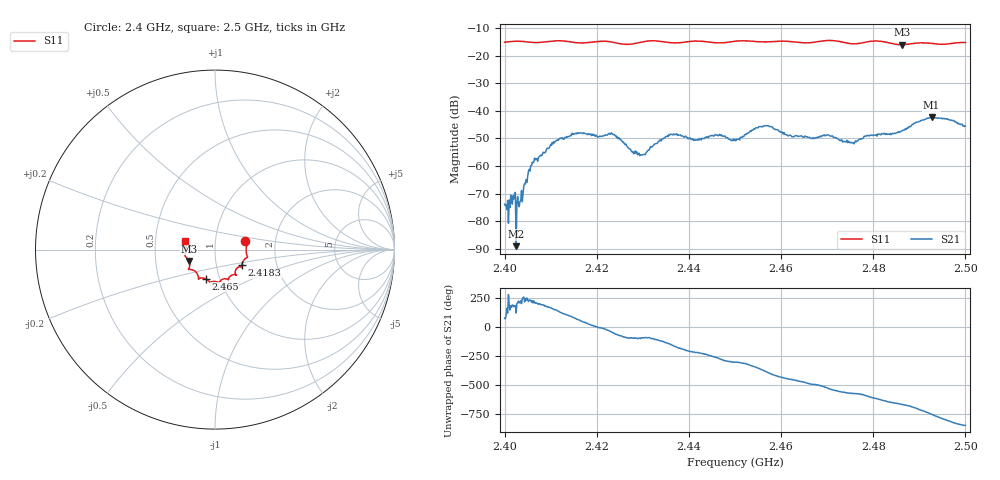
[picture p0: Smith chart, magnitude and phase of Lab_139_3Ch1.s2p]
# Hz S RI R 50
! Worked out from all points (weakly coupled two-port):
!   601 points, 2.4 GHz to 2.5 GHz, reference 50 ohm
!   highest |S21| = -42.34 dB at 2.4927 GHz (marker M1); lowest = -89.0 dB at 2.4025 GHz (marker M2)
!   lowest |S11| = -16.0 dB at 2.4862 GHz (marker M3), VSWR 1.37, Z = 37.1 - j4.83 ohm
!   |S11| at or under -10 dB: start of sweep to end of sweep
!   S12 and S22 are empty: the file has one direction only
!   S11 on the Smith chart (normalised r, x): 2.4 GHz: 1.40, +0.13; 2.4183 GHz: 1.33, -0.24; 2.465 GHz: 0.86, -0.29; 2.5 GHz: 0.71, +0.07
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2.4e9  0.1689 0.046  4.52e-05 0.0002  0 0  0 0
2.400667e9  0.1727 0.0418  -0.000126 0.000203  0 0  0 0
2.401833e9  0.1779 0.0371  -0.000286 -4.52e-05  0 0  0 0
2.4025e9  0.1797 0.0346  -1.82e-05 3.03e-05  0 0  0 0
2.4035e9  0.1795 0.03  -0.000161 -0.000172  0 0  0 0
2.4065e9  0.1729 0.00278  -0.00119 -0.000716  0 0  0 0
2.411667e9  0.1817 -0.0411  -0.00217 0.00198  0 0  0 0
2.416667e9  0.1554 -0.0684  0.00252 0.00308  0 0  0 0
2.418333e9  0.15 -0.0872  0.00338 0.00159  0 0  0 0
2.423667e9  0.1445 -0.0969  0.00234 -0.00292  0 0  0 0
2.429333e9  0.1129 -0.1317  -0.000122 -0.00154  0 0  0 0
2.433333e9  0.1169 -0.1413  -0.00107 -0.00255  0 0  0 0
2.436833e9  0.0916 -0.1437  -0.00356 -0.000994  0 0  0 0
2.45e9  0.0252 -0.1806  0.00162 0.00258  0 0  0 0
2.456667e9  -0.00703 -0.1772  0.00499 -0.00206  0 0  0 0
2.465e9  -0.0527 -0.1621  -0.00129 -0.00306  0 0  0 0
2.466667e9  -0.0713 -0.1577  -0.0021 -0.00236  0 0  0 0
2.475333e9  -0.1043 -0.1269  -0.00224 0.00135  0 0  0 0
2.483333e9  -0.1421 -0.0959  0.000941 0.00365  0 0  0 0
2.486167e9  -0.1446 -0.0635  0.00248 0.00353  0 0  0 0
2.492667e9  -0.1652 -0.0222  0.00659 -0.00386  0 0  0 0
2.5e9  -0.1668 0.0472  -0.00307 -0.00431  0 0  0 0
